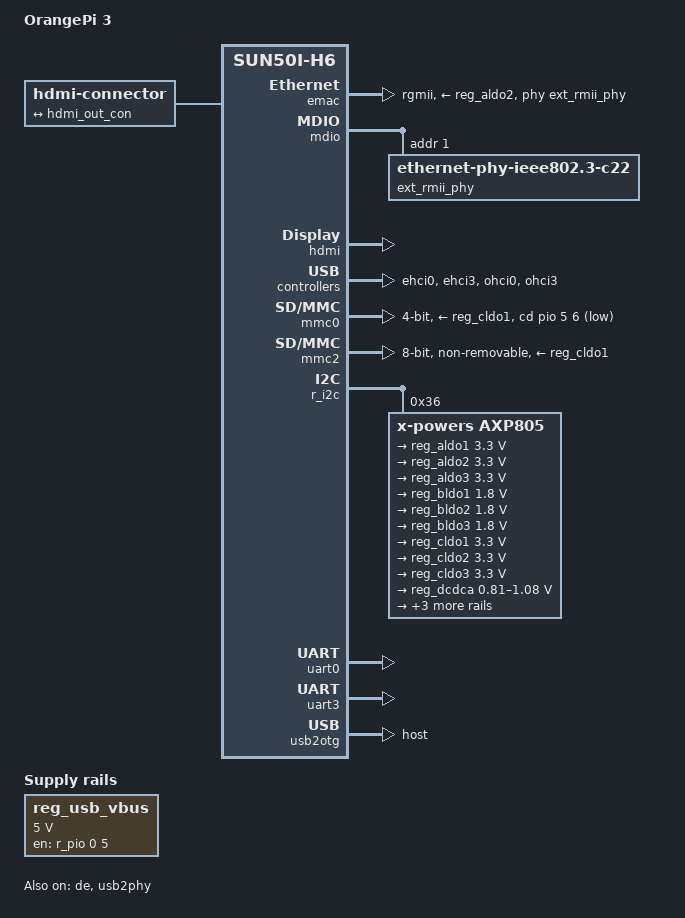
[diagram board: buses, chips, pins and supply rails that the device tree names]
// SPDX-License-Identifier: (GPL-2.0 or MIT)
/*
 * Copyright (C) 2018 Amarula Solutions
 * Author: Jagan Teki <jagan@amarulasolutions.com>
 */

/dts-v1/;

#include "sun50i-h6.dtsi"

#include <dt-bindings/gpio/gpio.h>

/ {
	model = "OrangePi 3";
	compatible = "xunlong,orangepi-3", "allwinner,sun50i-h6";

	aliases {
		serial0 = &uart0;
		serial3 = &uart3;
		ethernet0 = &emac;
	};

	chosen {
		stdout-path = "serial3:115200n8";
	};

	connector {
		compatible = "hdmi-connector";
		type = "a";

		port {
			hdmi_con_in: endpoint {
				remote-endpoint = <&hdmi_out_con>;
			};
		};
	};

	reg_usb_vbus: vbus {
		compatible = "regulator-fixed";
		regulator-name = "usb-vbus";
		regulator-min-microvolt = <5000000>;
		regulator-max-microvolt = <5000000>;
		startup-delay-us = <100000>;
		gpio = <&r_pio 0 5 GPIO_ACTIVE_HIGH>;
		enable-active-high;
	};
};

&emac {
	pinctrl-names = "default";
	pinctrl-0 = <&ext_rmii_pins>;
	phy-mode = "rgmii";
	phy-handle = <&ext_rmii_phy>;
	phy-supply = <&reg_aldo2>;
	allwinner,rx-delay-ps = <200>;
	allwinner,tx-delay-ps = <200>;
	status = "okay";
};

&mdio {
	ext_rmii_phy: ethernet-phy@1 {
		compatible = "ethernet-phy-ieee802.3-c22";
		reg = <1>;
	};
};

&de {
	status = "okay";
};

&hdmi {
	status = "okay";
};

&hdmi_out {
	hdmi_out_con: endpoint {
		remote-endpoint = <&hdmi_con_in>;
	};
};

&ehci0 {
	status = "okay";
};

&ehci3 {
	status = "okay";
};

&mmc0 {
	pinctrl-names = "default";
	pinctrl-0 = <&mmc0_pins>;
	vmmc-supply = <&reg_cldo1>;
	cd-gpios = <&pio 5 6 GPIO_ACTIVE_LOW>;
	bus-width = <4>;
	status = "okay";
};

&mmc2 {
	pinctrl-names = "default";
	pinctrl-0 = <&mmc2_pins>;
	vmmc-supply = <&reg_cldo1>;
	vqmmc-supply = <&reg_bldo2>;
	non-removable;
	cap-mmc-hw-reset;
	bus-width = <8>;
	status = "okay";
};

&ohci0 {
	status = "okay";
};

&ohci3 {
	status = "okay";
};

&pio {
	vcc-pc-supply = <&reg_bldo2>;
	vcc-pd-supply = <&reg_cldo1>;
	vcc-pg-supply = <&reg_aldo1>;
};

&r_i2c {
	status = "okay";

	axp805: pmic@36 {
		compatible = "x-powers,axp805", "x-powers,axp806";
		reg = <0x36>;
		interrupt-parent = <&r_intc>;
		interrupts = <0 IRQ_TYPE_LEVEL_LOW>;
		interrupt-controller;
		#interrupt-cells = <1>;
		x-powers,self-working-mode;

		regulators {
			reg_aldo1: aldo1 {
				regulator-always-on;
				regulator-min-microvolt = <3300000>;
				regulator-max-microvolt = <3300000>;
				regulator-name = "vcc-pl";
			};

			reg_aldo2: aldo2 {
				regulator-min-microvolt = <3300000>;
				regulator-max-microvolt = <3300000>;
				regulator-name = "vcc-ac200";
				regulator-enable-ramp-delay = <100000>;
			};

			reg_aldo3: aldo3 {
				/* This regulator is connected with CLDO1 */
				regulator-always-on;
				regulator-min-microvolt = <3300000>;
				regulator-max-microvolt = <3300000>;
				regulator-name = "vcc-3v3-1";
			};

			reg_bldo1: bldo1 {
				regulator-always-on;
				regulator-min-microvolt = <1800000>;
				regulator-max-microvolt = <1800000>;
				regulator-name = "vcc-bias-pll";
			};

			reg_bldo2: bldo2 {
				regulator-always-on;
				regulator-min-microvolt = <1800000>;
				regulator-max-microvolt = <1800000>;
				regulator-name = "vcc-efuse-pcie-hdmi-io";
			};

			reg_bldo3: bldo3 {
				regulator-always-on;
				regulator-min-microvolt = <1800000>;
				regulator-max-microvolt = <1800000>;
				regulator-name = "vcc-dcxoio";
			};

			bldo4 {
				/* unused */
			};

			reg_cldo1: cldo1 {
				/* This regulator is connected with ALDO3 */
				regulator-always-on;
				regulator-min-microvolt = <3300000>;
				regulator-max-microvolt = <3300000>;
				regulator-name = "vcc-3v3-2";
			};

			reg_cldo2: cldo2 {
				regulator-min-microvolt = <3300000>;
				regulator-max-microvolt = <3300000>;
				regulator-name = "vcc-wifi-1";
			};

			reg_cldo3: cldo3 {
				regulator-min-microvolt = <3300000>;
				regulator-max-microvolt = <3300000>;
				regulator-name = "vcc-wifi-2";
			};

			reg_dcdca: dcdca {
				regulator-always-on;
				regulator-min-microvolt = <810000>;
				regulator-max-microvolt = <1080000>;
				regulator-name = "vdd-cpu";
			};

			reg_dcdcc: dcdcc {
				regulator-min-microvolt = <810000>;
				regulator-max-microvolt = <1080000>;
				regulator-name = "vdd-gpu";
			};

			reg_dcdcd: dcdcd {
				regulator-always-on;
				regulator-min-microvolt = <960000>;
				regulator-max-microvolt = <960000>;
				regulator-name = "vdd-sys";
			};

			reg_dcdce: dcdce {
				regulator-always-on;
				regulator-min-microvolt = <1200000>;
				regulator-max-microvolt = <1200000>;
				regulator-name = "vcc-dram";
			};

			sw {
				/* unused */
			};
		};
	};
};

&r_pio {
	vcc-pm-supply = <&reg_aldo1>;
};

&uart0 {
	pinctrl-names = "default";
	pinctrl-0 = <&uart0_ph_pins>;
	status = "okay";
};
&uart3 {
	pinctrl-names = "default";
	pinctrl-0 = <&uart3_pd_pins>;
	status = "okay";
};

&usb2otg {
	dr_mode = "host";
	status = "okay";
};

&usb2phy {
	usb0_vbus-supply = <&reg_usb_vbus>;
	usb3_vbus-supply = <&reg_usb_vbus>;
	status = "okay";
};
